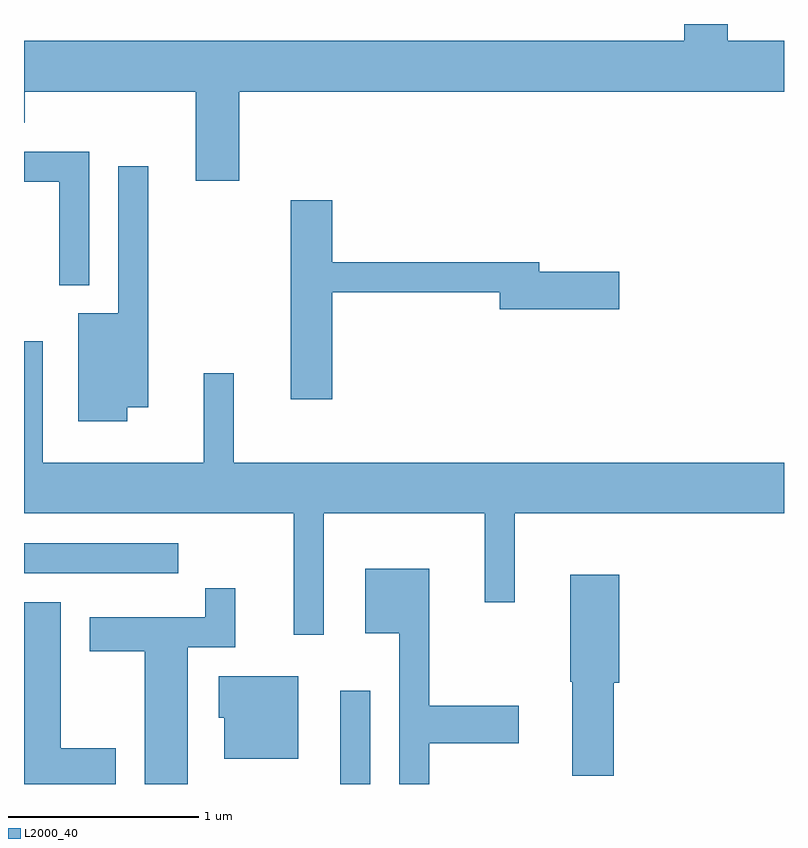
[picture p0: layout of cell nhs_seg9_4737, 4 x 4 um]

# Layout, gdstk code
import gdstk
lib = gdstk.Library(unit=1e-6, precision=1e-09)
def R(c, l, rs):  # rectangles x0, y0, x1, y1
    for r in rs: c.add(gdstk.rectangle(r[:2], r[2:], *l))
def P(c, l, *ps):  # polygons
    for p in ps: c.add(gdstk.Polygon(p, *l))
L2000_40 = (2000, 40)

nhs_seg9_4737 = lib.new_cell('nhs_seg9_4737')
R(nhs_seg9_4737, L2000_40, [(327.276,1950.432,327.434,1950.923), (325.611,1951.541,326.423,1951.699)])
P(nhs_seg9_4737, L2000_40, [(326.744,1954.076),(329.611,1954.076),(329.611,1954.344),(329.314,1954.344),(329.314,1954.432),(329.086,1954.432),(329.086,1954.344),(325.611,1954.344),(325.611,1953.911),(325.614,1953.911),(325.614,1954.076),(326.516,1954.076),(326.516,1953.606),(326.744,1953.606)],
  [(325.954,1953.759),(325.611,1953.759),(325.611,1953.601),(325.796,1953.601),(325.796,1953.058),(325.954,1953.058)],
  [(326.154,1952.416),(326.264,1952.416),(326.264,1953.683),(326.106,1953.683),(326.106,1952.909),(325.896,1952.909),(325.896,1952.341),(326.154,1952.341)],
  [(327.234,1953.021),(328.116,1953.021),(328.116,1952.931),(328.744,1952.931),(328.744,1953.129),(328.324,1953.129),(328.324,1953.179),(327.234,1953.179),(327.234,1953.504),(327.016,1953.504),(327.016,1952.456),(327.234,1952.456)],
  [(327.189,1951.856),(328.036,1951.856),(328.036,1951.388),(328.194,1951.388),(328.194,1951.856),(329.611,1951.856),(329.611,1952.124),(326.714,1952.124),(326.714,1952.593),(326.556,1952.593),(326.556,1952.124),(325.709,1952.124),(325.709,1952.763),(325.611,1952.763),(325.611,1951.856),(327.031,1951.856),(327.031,1951.218),(327.189,1951.218)],
  [(327.744,1950.646),(328.214,1950.646),(328.214,1950.844),(327.744,1950.844),(327.744,1951.564),(327.406,1951.564),(327.406,1951.226),(327.586,1951.226),(327.586,1950.432),(327.744,1950.432)],
  [(328.714,1950.966),(328.744,1950.966),(328.744,1951.534),(328.486,1951.534),(328.486,1950.97),(328.496,1950.97),(328.496,1950.476),(328.714,1950.476)],
  [(326.474,1951.151),(326.724,1951.151),(326.724,1951.463),(326.566,1951.463),(326.566,1951.309),(325.956,1951.309),(325.956,1951.131),(326.246,1951.131),(326.246,1950.432),(326.474,1950.432)],
  [(326.094,1950.619),(325.804,1950.619),(325.804,1951.389),(325.611,1951.389),(325.611,1950.432),(326.094,1950.432)],
  [(327.054,1950.999),(326.636,1950.999),(326.636,1950.781),(326.666,1950.781),(326.666,1950.566),(327.054,1950.566)])

lib.write_gds('nhs_seg9_4737.gds')
